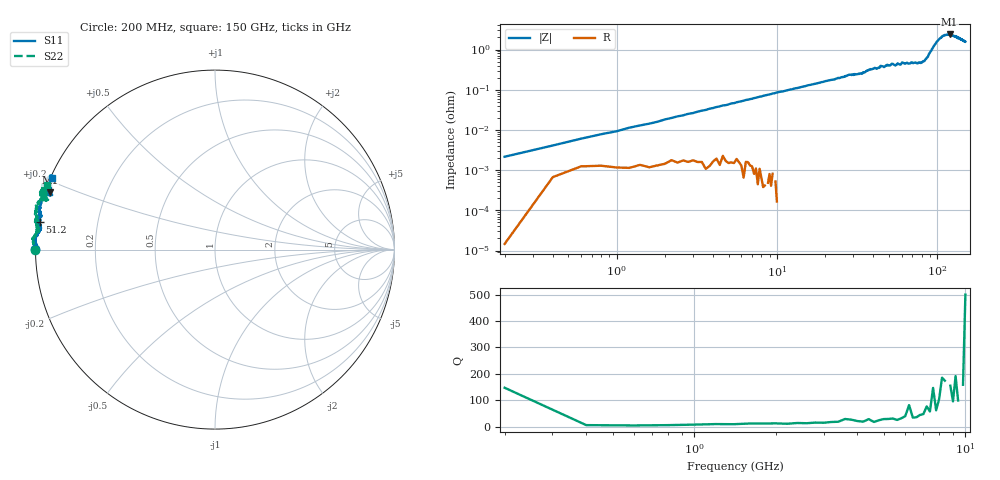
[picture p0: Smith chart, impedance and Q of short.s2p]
!  2-Port S-parameters saved by WinCal
! VAR MeasName=S-Parameters (CALIBRATED_DATA) read from VNA (MS4647B)
! VAR MeasDate=16-Sep-21 12:07:00
! VAR NAME=short
! VAR FILENAME=short.S2P
! VAR DATE=16-Sep-21 12:07:00
! VAR PHYS_PORTS=1,2
! VAR ObjTypeName=DATASET
! VAR IndexType=Frequency
# Hz S RI R 50
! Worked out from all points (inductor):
!   750 points, 200 MHz to 150 GHz, reference 50 ohm
!   read as one part in shunt: L = 1.49 pH near 800 MHz
!   highest |Z| = 2.37 ohm at 119.4 GHz (marker M1)
!   S11 on the Smith chart (normalised r, x): 200 MHz: -0.00, +0.00; 51.2 GHz: 0.01, +0.08; 150 GHz: 0.00, +0.21
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2e8  -1 0.00208  6.47e-07 8.65e-05  2.09e-05 9.07e-05  -1.005 -0.000688
1.2e9  -0.9959 0.00529  4.7e-05 0.000454  4.64e-05 0.000444  -1.006 0.000746
2.2e9  -0.995 0.00948  7.69e-05 0.000793  6.55e-05 0.000793  -1.006 0.00551
3.8e9  -0.9959 0.0121  6.52e-05 0.00135  7.75e-05 0.00135  -1.008 0.00902
6e9  -0.996 0.018  8.72e-05 0.00208  0.000104 0.00207  -1.008 0.0157
8.8e9  -0.9974 0.027  9.63e-05 0.00302  0.000112 0.00302  -1.009 0.0238
1.26e10  -0.9988 0.0384  5.25e-05 0.00421  6.24e-05 0.00418  -1.011 0.0349
2.52e10  -0.9859 0.0926  -0.000614 0.00809  -0.000607 0.00797  -0.999 0.0852
3.36e10  -0.9729 0.1125  -0.00118 0.00997  -0.00111 0.00997  -0.986 0.1015
3.78e10  -0.9748 0.1182  -0.00253 0.0122  -0.00245 0.0123  -0.9887 0.1062
4.46e10  -0.9718 0.1371  -0.00252 0.015  -0.00239 0.0151  -0.9858 0.1222
5.02e10  -0.9752 0.1519  -0.00263 0.0156  -0.00241 0.0157  -0.9906 0.1347
5.12e10  -0.9744 0.152  -0.00327 0.0159  -0.0031 0.0159  -0.9897 0.1352
5.88e10  -0.9823 0.1688  -0.00376 0.0163  -0.00356 0.0164  -0.9988 0.1504
6.06e10  -0.9797 0.1852  -0.00416 0.0185  -0.00401 0.0185  -0.9967 0.1666
7.52e10  -0.9825 0.2207  -0.00834 0.0163  -0.00819 0.0164  -1.003 0.1966
8.34e10  -0.9711 0.2553  -0.0158 0.0134  -0.0157 0.0138  -0.9938 0.2294
1.002e11  -0.9396 0.3063  -0.0502 0.0373  -0.0497 0.0379  -0.9649 0.2786
1.112e11  -0.9268 0.3116  -0.0443 0.0765  -0.0428 0.0771  -0.9516 0.2803
1.194e11  -0.9209 0.3199  -0.0183 0.0891  -0.0175 0.0898  -0.9441 0.2873
1.252e11  -0.9251 0.3271  -0.00505 0.0861  -0.00385 0.0861  -0.9471 0.2923
1.5e11  -0.9104 0.3966  0.0199 0.0575  0.023 0.057  -0.9381 0.3618
